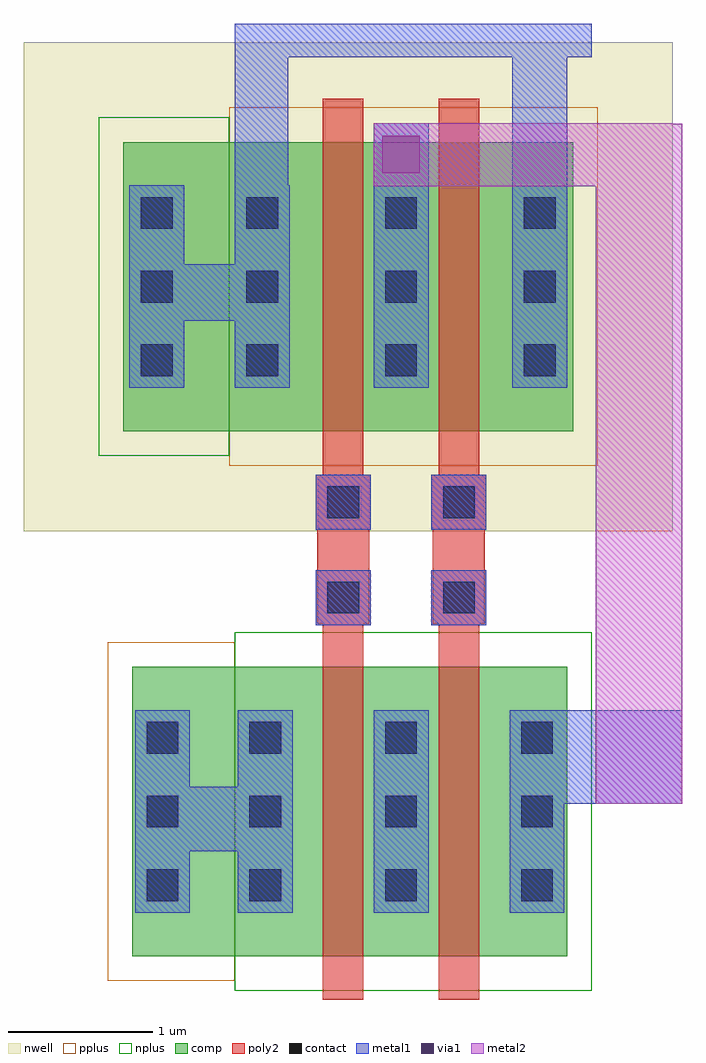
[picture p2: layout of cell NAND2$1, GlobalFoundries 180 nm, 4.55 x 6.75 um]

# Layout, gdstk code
from math import pi, radians
import gdstk
lib = gdstk.Library(unit=1e-6, precision=5e-09)
def R(c, l, rs):  # rectangles x0, y0, x1, y1
    for r in rs: c.add(gdstk.rectangle(r[:2], r[2:], *l))
def A(c, l, x, y, w, h, nx, ny, dx, dy):  # array of equal rectangles
    R(c, l, [(x+i*dx, y+j*dy, x+i*dx+w, y+j*dy+h) for i in range(nx) for j in range(ny)])
nwell = (21, 0)
comp = (22, 0)
poly2 = (30, 0)
pplus = (31, 0)
nplus = (32, 0)
contact = (33, 0)
metal1 = (34, 0)
via1 = (35, 0)
metal2 = (36, 0)

nfet_1_2 = lib.new_cell('nfet$1$2')
R(nfet_1_2, comp, [(-33.7,6.1,-33.28,8.1), (-33.28,6.1,-31.82,8.1), (-31.82,6.1,-31.4,8.1), (-31.4,6.1,-30.69,8.1)])
R(nfet_1_2, poly2, [(-33.09,5.8,-32.81,8.4), (-32.29,5.8,-32.01,8.4), (-33.13,8.4,-32.77,8.76), (-32.33,8.4,-31.97,8.76)])
R(nfet_1_2, pplus, [(-31.4,5.93,-30.52,8.27)])
R(nfet_1_2, nplus, [(-33.87,5.86,-31.4,8.34)])
A(nfet_1_2, contact, -33.6, 6.48, 0.22, 0.22, 3, 3, 0.94, 0.51)
A(nfet_1_2, contact, -31.01, 6.48, 0.22, 0.22, 1, 3, 0, 0.51)
R(nfet_1_2, contact, [(-33.06,8.47,-32.84,8.69), (-32.26,8.47,-32.04,8.69)])
A(nfet_1_2, metal1, -33.68, 6.4, 0.38, 1.4, 3, 1, 0.94, 0)
R(nfet_1_2, metal1, [(-31.09,6.4,-30.71,7.8), (-33.14,8.39,-32.76,8.77), (-32.34,8.39,-31.96,8.77)])

pfet_1_2 = lib.new_cell('pfet$1$2')
R(pfet_1_2, nwell, [(-34.43,-6.79,-29.94,-3.41)])
R(pfet_1_2, comp, [(-33.74,-6.1,-33.28,-4.1), (-33.28,-6.1,-31.82,-4.1), (-31.82,-6.1,-31.36,-4.1), (-31.36,-6.1,-30.63,-4.1)])
R(pfet_1_2, poly2, [(-33.09,-6.4,-32.81,-3.8), (-32.29,-6.4,-32.01,-3.8), (-33.14,-3.8,-32.76,-3.42), (-32.34,-3.8,-31.96,-3.42)])
R(pfet_1_2, pplus, [(-33.91,-6.34,-31.36,-3.86)])
R(pfet_1_2, nplus, [(-31.36,-6.27,-30.46,-3.93)])
A(pfet_1_2, contact, -33.62, -5.72, 0.22, 0.22, 3, 3, 0.96, 0.51)
A(pfet_1_2, contact, -30.97, -5.72, 0.22, 0.22, 1, 3, 0, 0.51)
R(pfet_1_2, contact, [(-33.06,-3.72,-32.84,-3.5), (-32.26,-3.72,-32.04,-3.5)])
A(pfet_1_2, metal1, -33.7, -5.8, 0.38, 1.4, 3, 1, 0.96, 0)
R(pfet_1_2, metal1, [(-31.05,-5.8,-30.67,-4.4), (-33.14,-3.8,-32.76,-3.42), (-32.34,-3.8,-31.96,-3.42)])

nand2_1 = lib.new_cell('NAND2$1')
R(nand2_1, poly2, [(32.455,7.22,32.815,7.89), (33.255,7.22,33.615,7.89)])
R(nand2_1, metal1, [(31.195,5.285,32.285,5.73), (33.785,5.615,34.98,6.26), (31.155,8.955,32.265,9.345), (31.885,9.89,32.255,11.01), (32.845,9.89,33.225,10.32), (33.805,9.89,34.185,11.01), (31.885,10.775,34.355,11.01)])
R(nand2_1, via1, [(32.905,9.975,33.165,10.235)])
R(nand2_1, metal2, [(34.38,5.615,34.98,7.895), (34.38,7.895,34.98,10.315), (32.845,9.885,34.915,10.32)])
nand2_1.add(gdstk.Reference(nfet_1_2, (0.485,-1.54), rotation=pi, x_reflection=True))
nand2_1.add(gdstk.Reference(pfet_1_2, (0.485,4.09), rotation=pi))

lib.write_gds('NAND2_1.gds')
